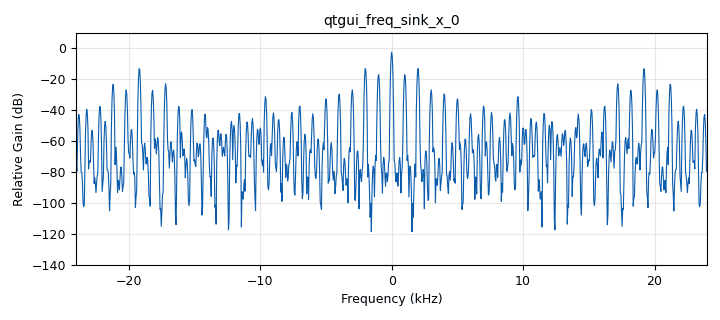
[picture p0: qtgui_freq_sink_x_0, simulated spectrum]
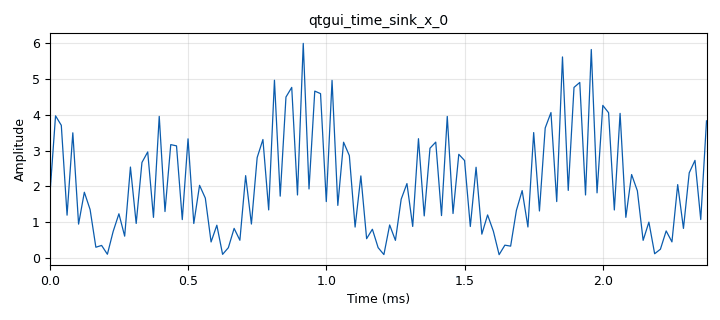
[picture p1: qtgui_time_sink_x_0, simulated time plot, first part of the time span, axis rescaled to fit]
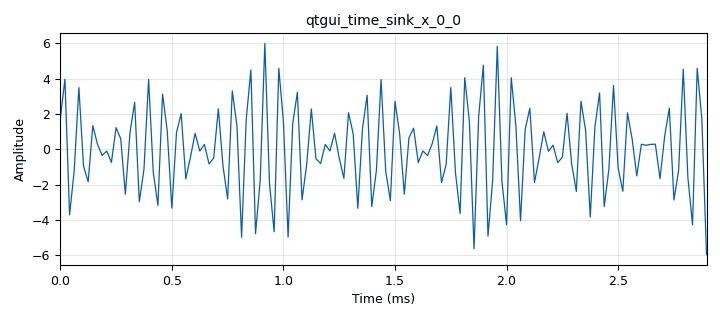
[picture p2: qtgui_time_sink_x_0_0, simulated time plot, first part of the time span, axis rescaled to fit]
options:
  parameters:
    generate_options: qt_gui
    id: sssssss
    output_language: python
    title: Not titled yet
  states: {}

blocks:
- name: fc
  id: variable_qtgui_range
  parameters:
    start: '100000'
    step: '10000'
    stop: '600000'
    value: '600000'
  states: {}
- name: fm
  id: variable_qtgui_range
  parameters:
    start: '100'
    step: '100'
    stop: '1000'
    value: '1000'
  states: {}
- name: mi
  id: variable_qtgui_range
  parameters:
    start: '1'
    step: '1'
    stop: '10'
    value: '10'
  states: {}
- name: samp_rate
  id: variable
  parameters:
    value: '48000'
  states: {}
- name: samp_rate_0
  id: variable
  parameters:
    value: '2000000'
  states: {}
- name: analog_sig_source_x_0
  id: analog_sig_source_x
  parameters:
    amp: '0.5'
    freq: fm
    offset: '0'
    phase: '0'
    samp_rate: samp_rate
    type: float
    waveform: analog.GR_SIN_WAVE
  states: {}
- name: analog_sig_source_x_1
  id: analog_sig_source_x
  parameters:
    amp: '1'
    freq: fc
    offset: '0'
    phase: '0'
    samp_rate: samp_rate_0
    type: float
    waveform: analog.GR_COS_WAVE
  states: {}
- name: audio_sink_0
  id: audio_sink
  parameters:
    samp_rate: samp_rate
  states: {}
- name: blocks_add_const_vxx_0
  id: blocks_add_const_vxx
  parameters:
    const: '1'
    type: float
  states: {}
- name: blocks_multiply_const_vxx_0
  id: blocks_multiply_const_vxx
  parameters:
    const: mi
    type: float
  states: {}
- name: blocks_multiply_xx_0
  id: blocks_multiply_xx
  parameters:
    type: float
  states: {}
- name: blocks_throttle2_0
  id: blocks_throttle2
  parameters:
    samples_per_second: samp_rate
    type: float
  states: {}
- name: epy_block_0
  id: epy_block
  parameters:
    _source_code: |
      """
      Embedded Python Blocks:

      Each time this file is saved, GRC will instantiate the first class it finds
      to get ports and parameters of your block. The arguments to __init__  will
      be the parameters. All of them are required to have default values!
      """

      import numpy as np
      from gnuradio import gr


      class blk(gr.sync_block):  # other base classes are basic_block, decim_block, interp_block
          """Embedded Python Block example - a simple multiply const"""

          def __init__(self, center_freq=1e6,bandwidth=1e5,gain=1):  # only default arguments here
              """arguments to this function show up as parameters in GRC"""
              gr.sync_block.__init__(
                  self,
                  name='rf amplifier',   # will show up in GRC
                  in_sig=[np.float32 ],
                  out_sig=[np.float32]
              )
              # if an attribute with the same name as a parameter is found,
              # a callback is registered (properties work, too).
              self.center_freq = center_freq
              self.bandwidth = bandwidth
              self.gain = gain
              self.ry =0
          def work(self, input_items, output_items):
              """example: multiply with constant"""
              output_items[0][:] = input_items[0] * self.gain
              return len(output_items[0])
    bandwidth: '100000.0'
    center_freq: '1000000.0'
    gain: '1'
  states: {}
- name: epy_block_1
  id: epy_block
  parameters:
    _source_code: |
      """
      Embedded Python Blocks:

      Each time this file is saved, GRC will instantiate the first class it finds
      to get ports and parameters of your block. The arguments to __init__  will
      be the parameters. All of them are required to have default values!
      """

      import numpy as np
      from gnuradio import gr


      class blk(gr.sync_block):  # other base classes are basic_block, decim_block, interp_block
          """Embedded Python Block example - a simple multiply const"""

          def __init__(self, lof=1055e3):  # only default arguments here
              """arguments to this function show up as parameters in GRC"""
              gr.sync_block.__init__(
                  self,
                  name='mixer_lo',   # will show up in GRC
                  in_sig=[np.float32],
                  out_sig=[np.float32]
              )
              # if an attribute with the same name as a parameter is found,
              # a callback is registered (properties work, too).
              self.lof= lof
              self.ry =0

          def work(self, input_items, output_items):
              """example: multiply with constant"""
              input_signal = input_items[0]
              time = np.arange(len(input_signal))
              lo_signal = np.cos(2*np.pi*self.lof*time)
              output_items[0][:] = input_signal * lo_signal
              return len(output_items[0])
    lof: '1055000.0'
  states: {}
- name: epy_block_2
  id: epy_block
  parameters:
    _source_code: |
      """
      Embedded Python Blocks:

      Each time this file is saved, GRC will instantiate the first class it finds
      to get ports and parameters of your block. The arguments to __init__  will
      be the parameters. All of them are required to have default values!
      """

      import numpy as np
      from gnuradio import gr


      class blk(gr.sync_block):  # other base classes are basic_block, decim_block, interp_block
          """Embedded Python Block example - a simple multiply const"""

          def __init__(self,gain=1.0):  # only default arguments here
              """arguments to this function show up as parameters in GRC"""
              gr.sync_block.__init__(
                  self,
                  name='if amplifier',   # will show up in GRC
                  in_sig=[np.float32],
                  out_sig=[np.float32]
              )
              # if an attribute with the same name as a parameter is found,
              # a callback is registered (properties work, too).
              self.gain= gain
              self.ry = 0.0

          def work(self, input_items, output_items):
              """example: multiply with constant"""
              output_items[0][:] = input_items[0] * self.gain
              return len(output_items[0])
    gain: '1.0'
  states: {}
- name: epy_block_3
  id: epy_block
  parameters:
    _source_code: |
      """
      Embedded Python Blocks:

      Each time this file is saved, GRC will instantiate the first class it finds
      to get ports and parameters of your block. The arguments to __init__  will
      be the parameters. All of them are required to have default values!
      """

      import numpy as np
      from gnuradio import gr


      class blk(gr.sync_block):  # other base classes are basic_block, decim_block, interp_block
          """Embedded Python Block example - a simple multiply const"""

          def __init__(self):  # only default arguments here
              """arguments to this function show up as parameters in GRC"""
              gr.sync_block.__init__(
                  self,
                  name='detector',   # will show up in GRC
                  in_sig=[np.float32],
                  out_sig=[np.float32]
              )
              # if an attribute with the same name as a parameter is found,
              # a callback is registered (properties work, too).
              

          def work(self, input_items, output_items):
              """example: multiply with constant"""
              output_items[0][:] = np.abs(input_items[0]) 
              return len(output_items[0])
  states: {}
- name: epy_block_5
  id: epy_block
  parameters:
    _source_code: |
      """
      Embedded Python Blocks:

      Each time this file is saved, GRC will instantiate the first class it finds
      to get ports and parameters of your block. The arguments to __init__  will
      be the parameters. All of them are required to have default values!
      """

      import numpy as np
      from gnuradio import gr


      class blk(gr.sync_block):  # other base classes are basic_block, decim_block, interp_block
          """Embedded Python Block example - a simple multiply const"""

          def __init__(self, gain=1.0):  # only default arguments here
              """arguments to this function show up as parameters in GRC"""
              gr.sync_block.__init__(
                  self,
                  name='af amplifier',   # will show up in GRC
                  in_sig=[np.float32],
                  out_sig=[np.float32]
              )
              # if an attribute with the same name as a parameter is found,
              # a callback is registered (properties work, too).
              self.gain = gain
              self.ry =0

          def work(self, input_items, output_items):
              """example: multiply with constant"""
              output_items[0][:] = input_items[0] * self.gain
              return len(output_items[0])
    gain: '1.0'
  states: {}
- name: qtgui_freq_sink_x_0
  id: qtgui_freq_sink_x
  parameters:
    bw: samp_rate
    fc: '0'
    fftsize: '1024'
    type: float
  states: {}
- name: qtgui_time_sink_x_0
  id: qtgui_time_sink_x
  parameters:
    size: '1024'
    srate: samp_rate
    type: float
  states: {}
- name: qtgui_time_sink_x_0_0
  id: qtgui_time_sink_x
  parameters:
    size: '1024'
    srate: samp_rate
    type: float
  states: {}

connections:
- [analog_sig_source_x_0, '0', blocks_multiply_const_vxx_0, '0']
- [analog_sig_source_x_1, '0', blocks_multiply_xx_0, '1']
- [blocks_add_const_vxx_0, '0', blocks_multiply_xx_0, '0']
- [blocks_multiply_const_vxx_0, '0', blocks_add_const_vxx_0, '0']
- [blocks_multiply_xx_0, '0', blocks_throttle2_0, '0']
- [blocks_throttle2_0, '0', epy_block_0, '0']
- [blocks_throttle2_0, '0', qtgui_time_sink_x_0_0, '0']
- [epy_block_0, '0', epy_block_1, '0']
- [epy_block_1, '0', epy_block_2, '0']
- [epy_block_2, '0', epy_block_3, '0']
- [epy_block_3, '0', epy_block_5, '0']
- [epy_block_5, '0', audio_sink_0, '0']
- [epy_block_5, '0', qtgui_freq_sink_x_0, '0']
- [epy_block_5, '0', qtgui_time_sink_x_0, '0']

metadata:
  file_format: 1
  grc_version: 3.10.9.2
